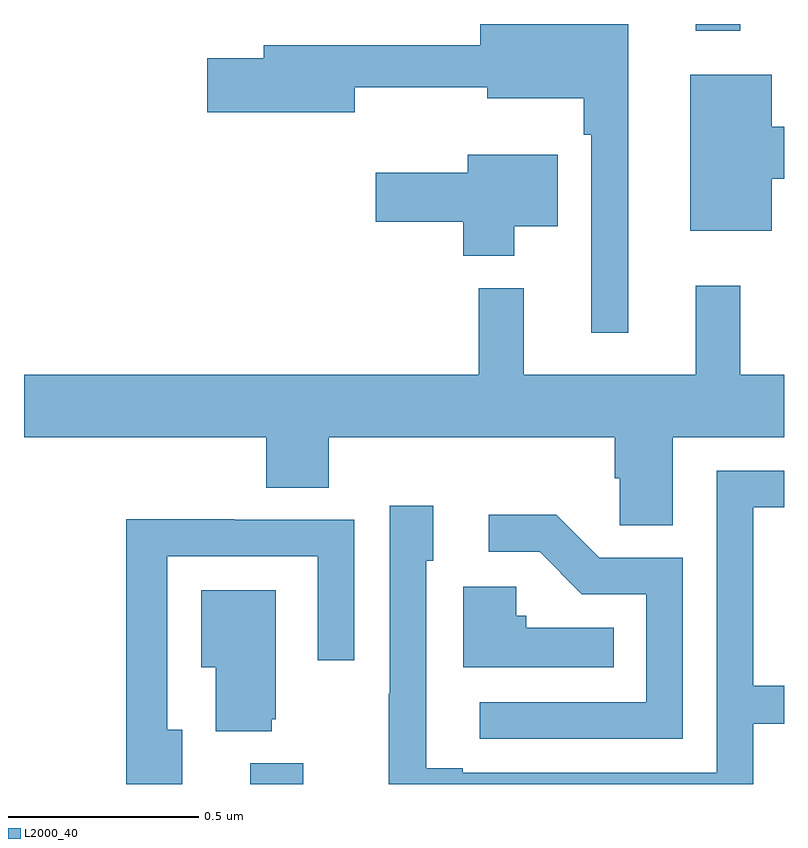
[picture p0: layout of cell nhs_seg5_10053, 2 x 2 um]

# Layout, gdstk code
import gdstk
lib = gdstk.Library(unit=1e-6, precision=1e-09)
def R(c, l, rs):  # rectangles x0, y0, x1, y1
    for r in rs: c.add(gdstk.rectangle(r[:2], r[2:], *l))
def P(c, l, *ps):  # polygons
    for p in ps: c.add(gdstk.Polygon(p, *l))
L2000_40 = (2000, 40)

nhs_seg5_10053 = lib.new_cell('nhs_seg5_10053')
R(nhs_seg5_10053, L2000_40, [(241.595,903.799,241.735,903.853), (242.768,905.781,242.885,905.799)])
P(nhs_seg5_10053, L2000_40, [(242.59,905.799),(242.2,905.799),(242.2,905.743),(241.631,905.743),(241.631,905.709),(241.482,905.709),(241.482,905.567),(241.87,905.567),(241.87,905.632),(242.219,905.632),(242.219,905.603),(242.473,905.603),(242.473,905.507),(242.493,905.507),(242.493,904.986),(242.59,904.986)],
  [(242.968,905.392),(243,905.392),(243,905.528),(242.968,905.528),(242.968,905.665),(242.753,905.665),(242.753,905.255),(242.968,905.255)],
  [(242.29,905.267),(242.404,905.267),(242.404,905.455),(242.168,905.455),(242.168,905.407),(241.926,905.407),(241.926,905.278),(242.156,905.278),(242.156,905.189),(242.29,905.189)],
  [(242.707,904.712),(243,904.712),(243,904.876),(242.885,904.876),(242.885,905.11),(242.768,905.11),(242.768,904.876),(242.315,904.876),(242.315,905.104),(242.197,905.104),(242.197,904.876),(241,904.876),(241,904.712),(241.637,904.712),(241.637,904.579),(241.802,904.579),(241.802,904.712),(242.555,904.712),(242.555,904.603),(242.568,904.603),(242.568,904.48),(242.707,904.48)],
  [(242.919,903.957),(243,903.957),(243,904.058),(242.919,904.058),(242.919,904.527),(243,904.527),(243,904.623),(242.823,904.623),(242.823,903.828),(242.155,903.828),(242.155,903.841),(242.058,903.841),(242.058,904.386),(242.077,904.386),(242.077,904.531),(241.962,904.531),(241.962,904.037),(241.96,904.037),(241.96,903.799),(242.919,903.799)],
  [(242.733,904.395),(242.514,904.395),(242.401,904.508),(242.223,904.508),(242.223,904.41),(242.357,904.41),(242.468,904.299),(242.637,904.299),(242.637,904.014),(242.199,904.014),(242.199,903.918),(242.733,903.918)],
  [(241.417,903.942),(241.377,903.942),(241.377,904.398),(241.773,904.398),(241.773,904.125),(241.869,904.125),(241.869,904.494),(241.553,904.494),(241.553,904.496),(241.269,904.496),(241.269,903.799),(241.417,903.799)],
  [(242.552,904.21),(242.322,904.21),(242.322,904.242),(242.295,904.242),(242.295,904.318),(242.156,904.318),(242.156,904.106),(242.552,904.106)],
  [(241.652,903.969),(241.663,903.969),(241.663,904.309),(241.466,904.309),(241.466,904.106),(241.505,904.106),(241.505,903.938),(241.652,903.938)])

lib.write_gds('nhs_seg5_10053.gds')
